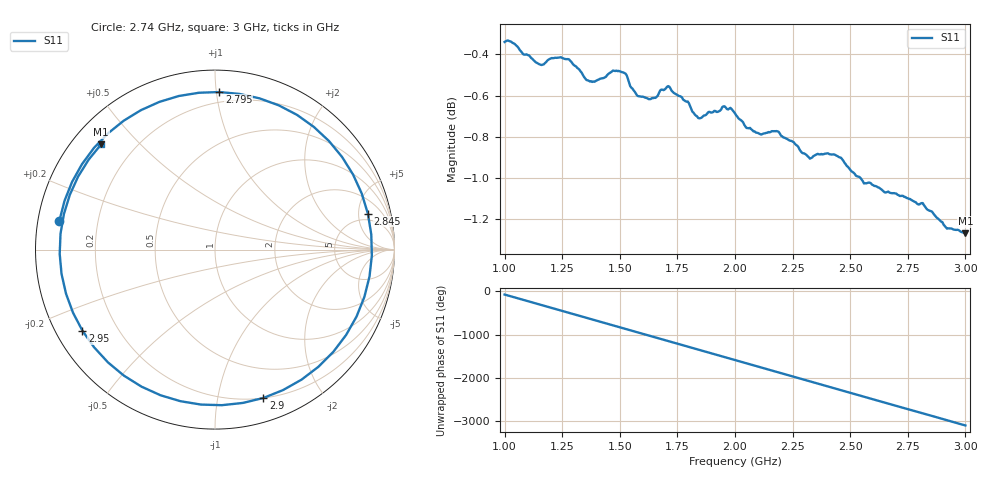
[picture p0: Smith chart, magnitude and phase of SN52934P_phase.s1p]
!  02.03.2026  11:01:28
! Ref Plane: 0,000 mm
# MHZ S MA R  50
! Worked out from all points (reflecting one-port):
!   401 points, 1 GHz to 3 GHz, reference 50 ohm
!   lowest |S11| = -1.3 dB at 3 GHz (marker M1), VSWR 13.71, Z = 4.21 + j19.5 ohm
!   phase of S11 starts at -74 deg and turns -3029 deg over the sweep
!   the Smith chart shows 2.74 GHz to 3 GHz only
!   S11 on the Smith chart (normalised r, x): 2.74 GHz: 0.06, +0.09; 2.795 GHz: 0.13, +1.02; 2.845 GHz: 3.76, +6.44; 2.9 GHz: 0.20, -1.36; 2.95 GHz: 0.08, -0.28; 3 GHz: 0.08, +0.39
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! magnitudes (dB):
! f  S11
! 1 GHz  -0.3
! 1.035 GHz  -0.3
! 1.155 GHz  -0.4
! 1.25 GHz  -0.4
! 1.37 GHz  -0.5
! 1.5 GHz  -0.5
! 1.525 GHz  -0.5
! 1.585 GHz  -0.6
! 1.645 GHz  -0.6
! 1.71 GHz  -0.6
! 1.75 GHz  -0.6
! 1.845 GHz  -0.7
! 1.95 GHz  -0.7
! 2 GHz  -0.7
! 2.09 GHz  -0.8
! 2.18 GHz  -0.8
! 2.25 GHz  -0.8
! 2.32 GHz  -0.9
! 2.435 GHz  -0.9
! 2.5 GHz  -1.0
! 2.565 GHz  -1.0
! 2.74 GHz  -1.1
! 2.75 GHz  -1.1
! 2.795 GHz  -1.1
! 2.845 GHz  -1.2
! 2.9 GHz  -1.2
! 2.95 GHz  -1.3
! 3 GHz  -1.3
